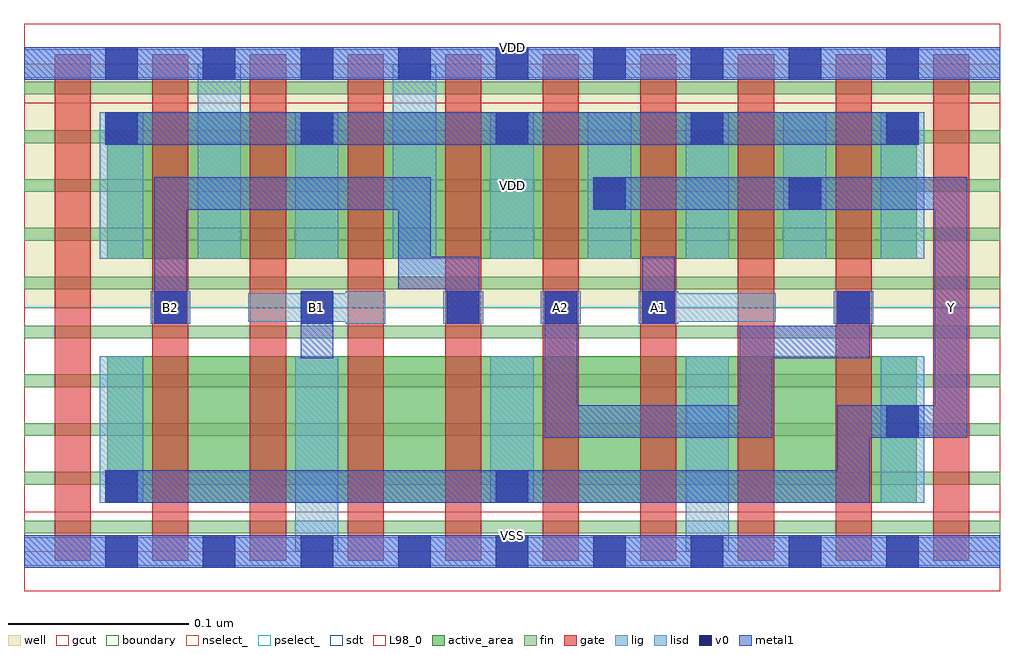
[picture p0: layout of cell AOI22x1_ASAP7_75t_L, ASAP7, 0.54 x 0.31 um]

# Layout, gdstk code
import gdstk
lib = gdstk.Library(unit=1e-6, precision=2.5e-10)
def R(c, l, rs):  # rectangles x0, y0, x1, y1
    for r in rs: c.add(gdstk.rectangle(r[:2], r[2:], *l))
def A(c, l, x, y, w, h, nx, ny, dx, dy):  # array of equal rectangles
    R(c, l, [(x+i*dx, y+j*dy, x+i*dx+w, y+j*dy+h) for i in range(nx) for j in range(ny)])
def P(c, l, *ps):  # polygons
    for p in ps: c.add(gdstk.Polygon(p, *l))
well = (1, 0)
fin = (2, 0)
gate = (7, 0)
gcut = (10, 0)
active_area = (11, 0)
nselect_ = (12, 0)
pselect_ = (13, 0)
lig = (16, 0)
lisd = (17, 0)
v0 = (18, 0)
metal1 = (19, 0)
sdt = (88, 0)
L98_0 = (98, 0)
boundary = (100, 0)

aoi22x1_asap7_75t_l = lib.new_cell('AOI22x1_ASAP7_75t_L')
R(aoi22x1_asap7_75t_l, well, [(0,0.135,0.54,0.27)])
A(aoi22x1_asap7_75t_l, fin, 0, 0.01, 0.54, 0.007, 1, 10, 0, 0.027)
A(aoi22x1_asap7_75t_l, gate, 0.017, -0.005, 0.02, 0.28, 10, 1, 0.054, 0)
R(aoi22x1_asap7_75t_l, gcut, [(0,-0.022,0.54,0.022), (0,0.248,0.54,0.292)])
R(aoi22x1_asap7_75t_l, active_area, [(0.046,0.027,0.494,0.108), (0.046,0.162,0.494,0.243)])
R(aoi22x1_asap7_75t_l, nselect_, [(0,0,0.54,0.135)])
R(aoi22x1_asap7_75t_l, pselect_, [(0,0.135,0.54,0.27)])
A(aoi22x1_asap7_75t_l, lig, 0.178, 0.126, 0.022, 0.018, 4, 1, 0.054, 0)
R(aoi22x1_asap7_75t_l, lig, [(0,-0.008,0.54,0.008), (0.07,0.126,0.092,0.144), (0.448,0.126,0.47,0.144), (0.124,0.127,0.2,0.143), (0.34,0.127,0.416,0.143), (0,0.262,0.54,0.278)])
A(aoi22x1_asap7_75t_l, lisd, 0.042, 0.027, 0.024, 0.081, 3, 1, 0.216, 0)
A(aoi22x1_asap7_75t_l, lisd, 0.042, 0.162, 0.024, 0.081, 3, 1, 0.108, 0)
A(aoi22x1_asap7_75t_l, lisd, 0.312, 0.162, 0.024, 0.081, 4, 1, 0.054, 0)
R(aoi22x1_asap7_75t_l, lisd, [(0.15,0,0.174,0.108), (0.15,0,0.174,0.108), (0.366,0,0.39,0.108), (0.366,0,0.39,0.108), (0.096,0.162,0.12,0.27), (0.096,0.162,0.12,0.27), (0.204,0.162,0.228,0.27), (0.204,0.162,0.228,0.27)])
A(aoi22x1_asap7_75t_l, v0, 0.045, -0.009, 0.018, 0.018, 9, 2, 0.054, 0.27)
A(aoi22x1_asap7_75t_l, v0, 0.072, 0.126, 0.018, 0.018, 3, 1, 0.081, 0)
A(aoi22x1_asap7_75t_l, v0, 0.045, 0.225, 0.018, 0.018, 5, 1, 0.108, 0)
R(aoi22x1_asap7_75t_l, v0, [(0.045,0.027,0.063,0.045), (0.261,0.027,0.279,0.045), (0.477,0.063,0.495,0.081), (0.288,0.126,0.306,0.144), (0.342,0.126,0.36,0.144), (0.45,0.126,0.468,0.144), (0.315,0.189,0.333,0.207), (0.423,0.189,0.441,0.207)])
A(aoi22x1_asap7_75t_l, metal1, 0.072, 0.126, 0.018, 0.018, 3, 1, 0.081, 0)
A(aoi22x1_asap7_75t_l, metal1, 0.045, 0.225, 0.018, 0.018, 5, 1, 0.108, 0)
R(aoi22x1_asap7_75t_l, metal1, [(0,-0.009,0.54,0.009), (0.045,0.027,0.063,0.045), (0.261,0.027,0.279,0.045), (0.477,0.063,0.495,0.081), (0.153,0.107,0.171,0.144), (0.288,0.126,0.306,0.144), (0.342,0.126,0.36,0.144), (0.342,0.126,0.36,0.163), (0.45,0.126,0.468,0.144), (0.315,0.189,0.333,0.207), (0.423,0.189,0.441,0.207), (0.045,0.225,0.495,0.243), (0,0.261,0.54,0.279)])
P(aoi22x1_asap7_75t_l, metal1, [(0.315,0.207),(0.315,0.189),(0.504,0.189),(0.504,0.081),(0.45,0.081),(0.45,0.045),(0.045,0.045),(0.045,0.027),(0.468,0.027),(0.468,0.063),(0.522,0.063),(0.522,0.207)],
  [(0.234,0.126),(0.252,0.126),(0.252,0.163),(0.225,0.163),(0.225,0.207),(0.072,0.207),(0.072,0.126),(0.09,0.126),(0.09,0.189),(0.207,0.189),(0.207,0.145),(0.234,0.145)],
  [(0.468,0.144),(0.45,0.144),(0.45,0.125),(0.396,0.125),(0.396,0.081),(0.306,0.081),(0.306,0.144),(0.288,0.144),(0.288,0.063),(0.414,0.063),(0.414,0.107),(0.468,0.107)])
A(aoi22x1_asap7_75t_l, sdt, 0.15, 0.027, 0.024, 0.081, 3, 1, 0.108, 0)
A(aoi22x1_asap7_75t_l, sdt, 0.096, 0.162, 0.024, 0.081, 3, 1, 0.054, 0)
A(aoi22x1_asap7_75t_l, sdt, 0.204, 0.162, 0.024, 0.081, 6, 1, 0.054, 0)
R(aoi22x1_asap7_75t_l, sdt, [(0.042,0.027,0.066,0.108), (0.15,0.027,0.174,0.108), (0.366,0.027,0.39,0.108), (0.474,0.027,0.498,0.108), (0.042,0.162,0.066,0.243), (0.096,0.162,0.12,0.243)])
R(aoi22x1_asap7_75t_l, L98_0, [(0,0,0.54,0.27)])
R(aoi22x1_asap7_75t_l, boundary, [(0,0,0.54,0.27)])
aoi22x1_asap7_75t_l.add(gdstk.Label('VDD', (0.27,0.2025), layer=1, texttype=251))
aoi22x1_asap7_75t_l.add(gdstk.Label('VSS', (0.27,-0.0675), layer=3, texttype=251))
aoi22x1_asap7_75t_l.add(gdstk.Label('VSS', (0.27,0.009), layer=19, texttype=251))
aoi22x1_asap7_75t_l.add(gdstk.Label('VDD', (0.27,0.279), layer=19, texttype=251))
aoi22x1_asap7_75t_l.add(gdstk.Label('Y', (0.513,0.135), layer=19, texttype=251))
aoi22x1_asap7_75t_l.add(gdstk.Label('B2', (0.081,0.135), layer=19, texttype=251))
aoi22x1_asap7_75t_l.add(gdstk.Label('B1', (0.162,0.135), layer=19, texttype=251))
aoi22x1_asap7_75t_l.add(gdstk.Label('A2', (0.297,0.135), layer=19, texttype=251))
aoi22x1_asap7_75t_l.add(gdstk.Label('A1', (0.351,0.135), layer=19, texttype=251))

lib.write_gds('AOI22x1_ASAP7_75t_L.gds')
